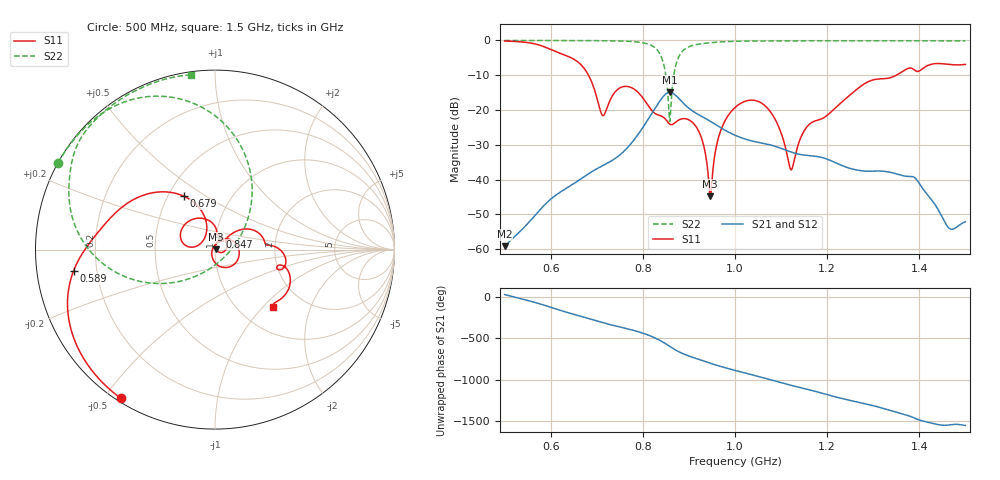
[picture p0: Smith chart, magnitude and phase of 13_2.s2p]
! TOUCHSTONE file generated by CST MICROWAVE STUDIO
! Date and time: Wed Oct 28 19:35:58 2020
! Project name: Scenario_1_Circular_Tissue_out_of_Line_v2.cst
! Parameters = {dy1=-138.4; L_HA=400; MT=2.54; Rad_Dielectric=30; Rad_Lower=7.3; Rad_Upper=30; a_HA=580; a_WG=246; b_HA=500; b_WG=121; c_HA=0; c_WG=187; d_feed=85; dx1=346; h_feed=15; h_lower=18; h_upper=40}
! Header version: 2018
! Port assignment regex: !\s*Touchstone port\s*([0-9]+)\s*=\s*(CST MWS port|CST DS port)\s*([0-9]+|Zmin|Zmax)\s*\(\"(.*)\"\)(\s*mode\s*([0-9]+))?.*
! Touchstone port assignment:
! Touchstone port 1 = CST MWS port 1 ("")
! Touchstone port 2 = CST MWS port 2 ("")
# GHz S DB R 50
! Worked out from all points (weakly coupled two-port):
!   1003 points, 500 MHz to 1.5 GHz, reference 50 ohm
!   highest |S21| = -14.90 dB at 859 MHz (marker M1); lowest = -59.1 dB at 500 MHz (marker M2)
!   lowest |S11| = -44.8 dB at 946 MHz (marker M3), VSWR 1.01, Z = 50.6 + j0.133 ohm
!   |S11| at or under -10 dB: 682.1 MHz to 1.35 GHz (668 MHz wide, 65.7 % of centre)
!   |S22| runs from -23.3 to 0.0 dB; largest |S21 - S12| = 2.7e-05
!   S11 on the Smith chart (normalised r, x): 500 MHz: 0.01, -0.55; 589 MHz: 0.11, -0.07; 679 MHz: 0.60, +0.41; 847 MHz: 1.04, +0.15; 1.5 GHz: 1.41, -1.13
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0.5  -0.17 -122.3  -59.12 24.3  -59.12 24.3  -0.01 151.1
0.589  -1.98 -171.5  -46.96 -109.2  -46.96 -109.2  -0.02 144.9
0.667  -7.15 132.9  -39.66 119.1  -39.66 119.1  -0.04 138.4
0.679  -9.27 120.2  -38.59 99.7  -38.59 99.7  -0.05 137.2
0.713  -21.61 141.7  -35.97 45.0  -35.97 45.0  -0.08 133.2
0.763  -13.20 142.5  -31.33 -24.0  -31.33 -24.0  -0.22 124.8
0.834  -21.45 81.5  -17.98 -159.1  -17.98 -159.1  -3.22 84.6
0.847  -22.33 71.0  -15.72 159.9  -15.72 159.9  -7.87 59.2
0.859  -24.09 67.0  -14.90 116.4  -14.90 116.4  -23.11 -66.3
0.877  -22.94 60.5  -16.52 57.1  -16.52 57.1  -5.02 -166.6
0.916  -24.87 -5.3  -20.96 -27.2  -20.96 -27.2  -1.19 159.1
0.932  -30.19 -30.6  -22.14 -57.3  -22.14 -57.3  -0.87 153.6
0.946  -44.84 13.3  -23.20 -83.2  -23.20 -83.2  -0.67 150.1
0.967  -26.68 71.5  -24.92 -119.6  -24.92 -119.6  -0.45 145.8
1  -19.29 27.6  -27.24 -170.1  -27.24 -170.1  -0.26 140.5
1.07  -19.40 -66.8  -29.80 87.7  -29.80 87.7  -0.15 132.4
1.122  -37.20 156.8  -32.10 10.1  -32.10 10.1  -0.11 127.8
1.167  -23.56 44.1  -33.18 -51.5  -33.18 -51.5  -0.10 124.2
1.334  -10.81 5.2  -37.81 71.8  -37.81 71.8  -0.08 111.5
1.391  -8.65 -17.5  -39.54 -28.3  -39.54 -28.3  -0.09 107.0
1.466  -6.92 -39.7  -54.11 -106.8  -54.12 -106.8  -0.12 100.8
1.5  -6.89 -44.9  -52.09 -113.9  -52.03 -113.4  -0.14 98.0
